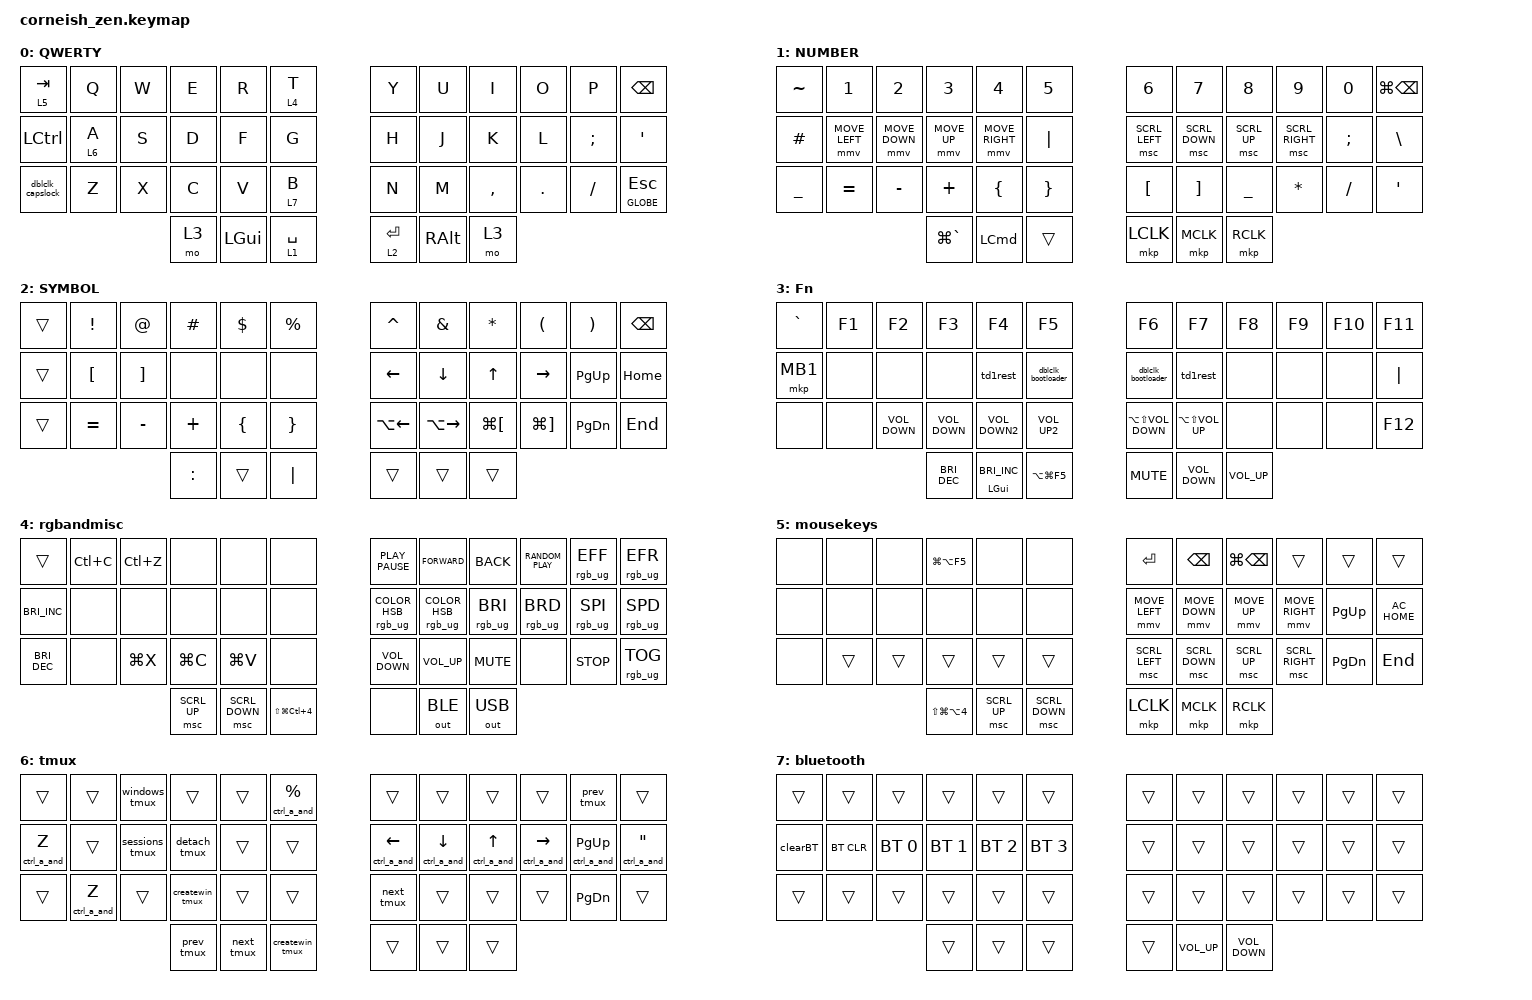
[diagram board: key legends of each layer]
/*
 * Copyright (c) 2020 The ZMK Contributors
 *
 * SPDX-License-Identifier: MIT
 */

#define ZMK_POINTING_DEFAULT_MOVE_VAL 1200  // default: 600
#define ZMK_POINTING_DEFAULT_SCRL_VAL 15    // default: 10

#include <behaviors.dtsi>
#include <dt-bindings/zmk/bt.h>
#include <dt-bindings/zmk/keys.h>
#include <dt-bindings/zmk/outputs.h>
#include <dt-bindings/zmk/pointing.h>
#include <dt-bindings/zmk/rgb.h>

&mmv {
    time-to-max-speed-ms = <200>;
    acceleration-exponent = <1>;
};

&msc {
    time-to-max-speed-ms = <200>;   // default: 300
    acceleration-exponent = <1>;    // default: 0 (constant)
};

/ {
    chosen {
        zmk,matrix_transform = &default_transform;

        // zmk,matrix_transform = &five_column_transform;
    };
};

/ {
    behaviors {
        dblclk_capslock: dblclk_capslock {
            compatible = "zmk,behavior-tap-dance";
            label = "DBLCLK_CAPSLOCK";
            #binding-cells = <0>;
            bindings = <&kp LEFT_SHIFT>, <&kp CAPSLOCK>;
        };

        td1rest: td1rest {
            compatible = "zmk,behavior-tap-dance";
            label = "TD1REST";
            #binding-cells = <0>;
            bindings = <&trans>, <&sys_reset>;
        };

        dblclk_bootloader: dblclk_bootloader {
            compatible = "zmk,behavior-tap-dance";
            label = "DBLCLK_BOOTLOADER";
            #binding-cells = <0>;
            bindings = <&none>, <&bootloader>;
        };

        clearBT: clearBT {
            compatible = "zmk,behavior-tap-dance";
            label = "CLEARBT";
            #binding-cells = <0>;
            bindings = <&none>, <&bt BT_CLR_ALL>;
        };
    };

    macros {
        screenshot: screenshot {
            compatible = "zmk,behavior-macro";
            #binding-cells = <0>;
            bindings = <&none>;
            label = "SCREENSHOT";
        };

        next_tmux: next_tmux {
            compatible = "zmk,behavior-macro";
            #binding-cells = <0>;
            bindings = <&kp LC(A) &kp N>;
            label = "NEXT_TMUX";
        };

        prev_tmux: prev_tmux {
            compatible = "zmk,behavior-macro";
            #binding-cells = <0>;
            bindings = <&kp LC(A) &kp P>;
            label = "PREV_TMUX";
        };

        sessions_tmux: sessions_tmux {
            compatible = "zmk,behavior-macro";
            #binding-cells = <0>;
            bindings = <&kp LC(A) &kp S>;
            label = "SESSIONS_TMUX";
        };

        windows_tmux: windows_tmux {
            compatible = "zmk,behavior-macro";
            #binding-cells = <0>;
            bindings = <&kp LC(A) &kp W>;
            label = "WINDOWS_TMUX";
        };

        createwin_tmux: createwin_tmux {
            compatible = "zmk,behavior-macro";
            #binding-cells = <0>;
            bindings = <&kp LC(A) &kp C>;
            label = "CREATEWIN_TMUX";
        };

        detach_tmux: detach_tmux {
            compatible = "zmk,behavior-macro";
            #binding-cells = <0>;
            bindings = <&kp LC(A) &kp D>;
            label = "DETACH_TMUX";
        };

        ctrl_a_and: ctrl_a_and {
            compatible = "zmk,behavior-macro-one-param";
            #binding-cells = <1>;
            bindings =
                <&macro_press>,
                <&kp LCTRL>,
                <&macro_tap>,
                <&kp A>,
                <&macro_release>,
                <&kp LCTRL &macro_param_1to1>,
                <&macro_tap>,
                <&kp MACRO_PLACEHOLDER>;

            label = "CTRL_A_AND";
        };
    };

    combos {
        compatible = "zmk,combos";

        mouser {
            bindings = <&kp RA(SPACE)>;
            key-positions = <36 37 38>;
        };

        terminal_reset {
            bindings = <&kp LC(L)>;
            key-positions = <19 20 21>;
        };
    };

    keymap {
        compatible = "zmk,keymap";

        launchpad {
            display-name = "QWERTY";

            // --------------------------------------------------------------------------------
            // |  TAB |  Q  |  W  |  E  |  R  |  T  |   |  Y  |  U   |  I  |  O  |  P  | BKSP |
            // | CTRL |  A  |  S  |  D  |  F  |  G  |   |  H  |  J   |  K  |  L  |  ;  |  '   | 
            // | SHFT |  Z  |  X  |  C  |  V  |  B  |   |  N  |  M   |  ,  |  .  |  /  | ESC  |
            //                    | GUI | LWR | SPC |   | ENT | RSE  | ALT |

            bindings = <
&lt 5 TAB         &kp Q    &kp W  &kp E  &kp R         &lt 4 T        &kp Y        &kp U          &kp I      &kp O    &kp P     &kp BSPC
&kp LCTRL         &lt 6 A  &kp S  &kp D  &kp F         &kp G          &kp H        &kp J          &kp K      &kp L    &kp SEMI  &kp SQT
&dblclk_capslock  &kp Z    &kp X  &kp C  &kp V         &lt 7 B        &kp N        &kp M          &kp COMMA  &kp DOT  &kp FSLH  &mt GLOBE ESC
                                  &mo 3  &kp LEFT_GUI  &lt 1 SPACE    &lt 2 ENTER  &kp RIGHT_ALT  &mo 3
            >;
        };

        numbersmouse {
            display-name = "NUMBER";

            // -----------------------------------------------------------------------------------------
            // |  TAB |  1  |  2  |  3  |  4  |  5  |   |  6  |  7  |  8  |  9  |  0  | BKSP |
            // | BTCLR| BT1 | BT2 | BT3 | BT4 | BT5 |   | LFT | DWN |  UP | RGT |     |      |
            // | SHFT |     |     |     |     |     |   |     |     |     |     |     |      |
            //                    | GUI |     | SPC |   | ENT |     | ALT |

            bindings = <
&kp TILDE  &kp N1          &kp N2          &kp N3         &kp N4            &kp N5             &kp N6            &kp N7             &kp N8        &kp N9           &kp N0         &kp LG(BSPC)
&kp POUND  &mmv MOVE_LEFT  &mmv MOVE_DOWN  &mmv MOVE_UP   &mmv MOVE_RIGHT   &kp PIPE           &msc SCRL_LEFT    &msc SCRL_DOWN     &msc SCRL_UP  &msc SCRL_RIGHT  &kp SEMICOLON  &kp BACKSLASH
&kp UNDER  &kp EQUAL       &kp MINUS       &kp PLUS       &kp LEFT_BRACE    &kp RIGHT_BRACE    &kp LEFT_BRACKET  &kp RIGHT_BRACKET  &kp UNDER     &kp ASTERISK     &kp SLASH      &kp APOS
                                           &kp LG(GRAVE)  &kp LEFT_COMMAND  &trans             &mkp LCLK         &mkp MCLK          &mkp RCLK
            >;
        };

        punctuation {
            display-name = "SYMBOL";

            // -----------------------------------------------------------------------------------------
            // |  TAB |  !  |  @  |  #  |  $  |  %  |   |  ^  |  &  |  *  |  (  |  )  | BKSP |
            // | CTRL |     |     |     |     |     |   |  -  |  =  |  [  |  ]  |  \  |  `   |
            // | SHFT |     |     |     |     |     |   |  _  |  +  |  {  |  }  | "|" |  ~   |
            //                    | GUI |     | SPC |   | ENT |     | ALT |

            bindings = <
&trans  &kp EXCL          &kp AT             &kp HASH   &kp DLLR        &kp PRCNT          &kp CARET     &kp AMPS       &kp ASTRK             &kp LPAR               &kp RPAR       &kp BSPC
&trans  &kp LEFT_BRACKET  &kp RIGHT_BRACKET  &none      &none           &none              &kp LEFT      &kp DOWN       &kp UP_ARROW          &kp RIGHT              &kp PAGE_UP    &kp HOME
&trans  &kp EQUAL         &kp MINUS          &kp PLUS   &kp LEFT_BRACE  &kp RIGHT_BRACE    &kp LA(LEFT)  &kp LA(RIGHT)  &kp LG(LEFT_BRACKET)  &kp LG(RIGHT_BRACKET)  &kp PAGE_DOWN  &kp END
                                             &kp COLON  &trans          &kp PIPE           &trans        &trans         &trans
            >;
        };

        functionkeys {
            display-name = "Fn";
            bindings = <
&kp GRAVE  &kp F1  &kp F2             &kp F3                &kp F4                         &kp F5                &kp F6                     &kp F7                   &kp F8           &kp F9  &kp F10  &kp F11
&mkp MB1   &none   &none              &none                 &td1rest                       &dblclk_bootloader    &dblclk_bootloader         &td1rest                 &none            &none   &none    &kp PIPE
&none      &none   &kp K_VOLUME_DOWN  &kp K_VOLUME_DOWN     &kp K_VOLUME_DOWN2             &kp K_VOLUME_UP2      &kp LA(LS(C_VOLUME_DOWN))  &kp LA(LS(C_VOLUME_UP))  &none            &none   &none    &kp F12
                                      &kp C_BRIGHTNESS_DEC  &mt LEFT_GUI C_BRIGHTNESS_INC  &kp LA(LG(F5))        &kp K_MUTE                 &kp C_VOLUME_DOWN        &kp C_VOLUME_UP
            >;
        };

        rgbandmisc {
            bindings = <
&trans                &kp LC(C)  &kp LC(Z)  &none         &none           &none                       &kp K_PLAY_PAUSE                   &kp K_FORWARD                   &kp K_BACK       &kp C_RANDOM_PLAY  &rgb_ug RGB_EFF  &rgb_ug RGB_EFR
&kp C_BRIGHTNESS_INC  &none      &none      &none         &none           &none                       &rgb_ug RGB_COLOR_HSB(121,100,50)  &rgb_ug RGB_COLOR_HSB(0,96,48)  &rgb_ug RGB_BRI  &rgb_ug RGB_BRD    &rgb_ug RGB_SPI  &rgb_ug RGB_SPD
&kp C_BRIGHTNESS_DEC  &none      &kp LG(X)  &kp LG(C)     &kp LG(V)       &none                       &kp C_VOLUME_DOWN                  &kp C_VOLUME_UP                 &kp K_MUTE       &none              &kp K_STOP       &rgb_ug RGB_TOG
                                            &msc SCRL_UP  &msc SCRL_DOWN  &kp LS(LG(LC(NUMBER_4)))    &none                              &out OUT_BLE                    &out OUT_USB
            >;
        };

        mousekeys {
            bindings = <
&none  &none   &none   &kp LG(LA(F5))            &none         &none             &kp ENTER       &kp BACKSPACE   &kp LG(BACKSPACE)  &trans           &trans         &trans
&none  &none   &none   &none                     &none         &none             &mmv MOVE_LEFT  &mmv MOVE_DOWN  &mmv MOVE_UP       &mmv MOVE_RIGHT  &kp PAGE_UP    &kp C_AC_HOME
&none  &trans  &trans  &trans                    &trans        &trans            &msc SCRL_LEFT  &msc SCRL_DOWN  &msc SCRL_UP       &msc SCRL_RIGHT  &kp PAGE_DOWN  &kp END
                       &kp LS(LG(LA(NUMBER_4)))  &msc SCRL_UP  &msc SCRL_DOWN    &mkp LCLK       &mkp MCLK       &mkp RCLK
            >;
        };

        tmux {
            bindings = <
&trans         &trans         &windows_tmux   &trans           &trans      &ctrl_a_and PERCENT    &trans            &trans            &trans                &trans             &prev_tmux           &trans
&ctrl_a_and Z  &trans         &sessions_tmux  &detach_tmux     &trans      &trans                 &ctrl_a_and LEFT  &ctrl_a_and DOWN  &ctrl_a_and UP_ARROW  &ctrl_a_and RIGHT  &ctrl_a_and PAGE_UP  &ctrl_a_and DOUBLE_QUOTES
&trans         &ctrl_a_and Z  &trans          &createwin_tmux  &trans      &trans                 &next_tmux        &trans            &trans                &trans             &kp PAGE_DOWN        &trans
                                              &prev_tmux       &next_tmux  &createwin_tmux        &trans            &trans            &trans
            >;
        };

        bluetooth {
            bindings = <
&trans    &trans      &trans        &trans        &trans        &trans          &trans  &trans           &trans             &trans  &trans  &trans
&clearBT  &bt BT_CLR  &bt BT_SEL 0  &bt BT_SEL 1  &bt BT_SEL 2  &bt BT_SEL 3    &trans  &trans           &trans             &trans  &trans  &trans
&trans    &trans      &trans        &trans        &trans        &trans          &trans  &trans           &trans             &trans  &trans  &trans
                                    &trans        &trans        &trans          &trans  &kp C_VOLUME_UP  &kp C_VOLUME_DOWN
            >;
        };
    };
};
